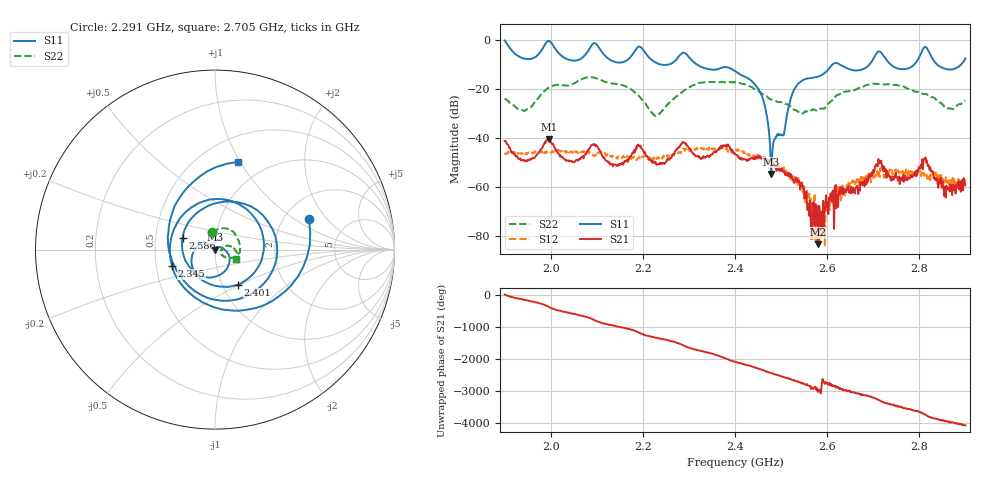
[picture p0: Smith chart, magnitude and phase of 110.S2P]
! C:\Users\rflab\Downloads\Lab5_KD_ZW\110.S2P
! Touchstone 1.1 file saved by VNA.EXE V1.65 (www.ke5fx.com/gpib/readme.htm)
! 11/11/2024 11:46:11 PM
!  Source: HEWLETT PACKARD,8753D,0,6.14
!  Min freq: 1.900000E+009 Hz
!  Max freq: 2.900000E+009 Hz
!  Points: 801
!  Params: S11 S21 S12 S22
# GHZ S RI R 50
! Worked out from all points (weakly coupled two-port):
!   801 points, 1.9 GHz to 2.9 GHz, reference 50 ohm
!   highest |S21| = -40.38 dB at 1.996 GHz (marker M1); lowest = -83.3 dB at 2.58 GHz (marker M2)
!   lowest |S11| = -54.5 dB at 2.479 GHz (marker M3), VSWR 1.00, Z = 50.2 + j0.0314 ohm
!   |S11| at or under -10 dB: 2.319 GHz to 2.611 GHz (292 MHz wide, 11.8 % of centre); 2.629 GHz to 2.691 GHz (62.16 MHz wide, 2.34 % of centre); 2.84 GHz to 2.89 GHz (50.4 MHz wide, 1.76 % of centre) (the widest 3 of 5)
!   |S22| runs from -30.8 to -15.0 dB; largest |S21 - S12| = 0.0047
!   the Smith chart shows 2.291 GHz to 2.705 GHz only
!   S11 on the Smith chart (normalised r, x): 2.291 GHz: 2.73, +1.32; 2.345 GHz: 0.60, -0.12; 2.401 GHz: 1.18, -0.49; 2.586 GHz: 0.69, +0.09; 2.705 GHz: 0.75, +0.98
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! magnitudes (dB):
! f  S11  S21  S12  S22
! 1.9 GHz  0.0  -41.0  -45.9  -23.9
! 1.946 GHz  -7.6  -49.4  -46.3  -28.4
! 1.996 GHz  -0.2  -40.4  -46.0  -19.2
! 2.067 GHz  -7.2  -47.5  -45.6  -15.8
! 2.192 GHz  -2.5  -43.2  -47.4  -22.9
! 2.234 GHz  -9.6  -50.4  -47.6  -30.2
! 2.291 GHz  -5.2  -41.7  -45.0  -20.2
! 2.345 GHz  -11.8  -47.3  -44.3  -17.0
! 2.4 GHz  -12.5  -46.2  -45.7  -17.1
! 2.401 GHz  -12.6  -46.5  -45.4  -17.1
! 2.456 GHz  -21.8  -48.3  -47.4  -21.4
! 2.479 GHz  -54.5  -50.0  -51.0  -24.1
! 2.53 GHz  -19.5  -57.4  -57.6  -28.5
! 2.567 GHz  -15.3  -77.2  -66.4  -28.3
! 2.58 GHz  -14.8  -83.3  -71.4  -28.5
! 2.586 GHz  -14.3  -70.2  -73.6  -27.8
! 2.609 GHz  -10.4  -63.1  -65.8  -24.8
! 2.705 GHz  -5.9  -51.6  -55.0  -17.7
! 2.734 GHz  -9.1  -55.2  -55.0  -17.9
! 2.811 GHz  -2.7  -48.5  -54.5  -21.9
! 2.856 GHz  -11.6  -60.4  -56.4  -27.3
! 2.9 GHz  -7.4  -59.1  -56.7  -24.6
